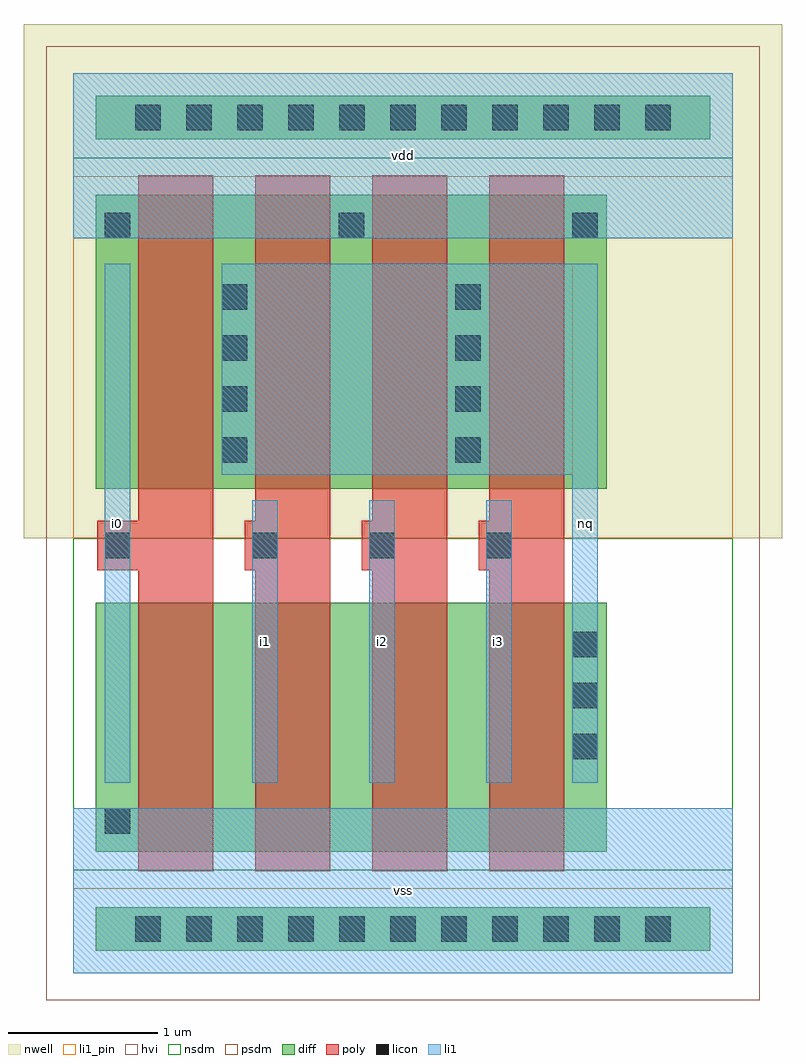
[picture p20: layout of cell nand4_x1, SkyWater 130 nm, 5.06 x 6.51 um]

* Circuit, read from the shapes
.subckt nand4_x1 i0 i1 i2 i3 nq vdd vss
XM1 n1 i0 vss VSUBS sky130_fd_pr__nfet_g5v0d10v5 w=1.66 l=0.5
XM2 n2 i1 n1 VSUBS sky130_fd_pr__nfet_g5v0d10v5 w=1.66 l=0.5
XM3 n3 i2 n2 VSUBS sky130_fd_pr__nfet_g5v0d10v5 w=1.66 l=0.5
XM4 nq i3 n3 VSUBS sky130_fd_pr__nfet_g5v0d10v5 w=1.66 l=0.5
XM5 nq i0 vdd n4 sky130_fd_pr__pfet_g5v0d10v5 w=1.96 l=0.5
XM6 vdd i1 nq n4 sky130_fd_pr__pfet_g5v0d10v5 w=1.96 l=0.5
XM7 nq i2 vdd n4 sky130_fd_pr__pfet_g5v0d10v5 w=1.96 l=0.5
XM8 vdd i3 nq n4 sky130_fd_pr__pfet_g5v0d10v5 w=1.96 l=0.5
.ends

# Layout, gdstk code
import gdstk
lib = gdstk.Library(unit=1e-6, precision=1e-09)
def R(c, l, rs):  # rectangles x0, y0, x1, y1
    for r in rs: c.add(gdstk.rectangle(r[:2], r[2:], *l))
def A(c, l, x, y, w, h, nx, ny, dx, dy):  # array of equal rectangles
    R(c, l, [(x+i*dx, y+j*dy, x+i*dx+w, y+j*dy+h) for i in range(nx) for j in range(ny)])
def P(c, l, *ps):  # polygons
    for p in ps: c.add(gdstk.Polygon(p, *l))
nwell = (64, 20)
diff = (65, 20)
poly = (66, 20)
licon = (66, 44)
li1_pin = (67, 16)
li1 = (67, 20)
hvi = (75, 20)
nsdm = (93, 44)
psdm = (94, 20)

nand4_x1 = lib.new_cell('nand4_x1')
R(nand4_x1, nwell, [(-0.33,2.9,4.73,6.33)])
R(nand4_x1, diff, [(0.15,0.15,4.25,0.44), (0.15,0.81,3.56,2.47), (0.15,3.23,3.56,5.19), (0.15,5.56,4.25,5.85)])
P(nand4_x1, poly, [(0.435,0.68),(0.435,2.685),(0.16,2.685),(0.16,3.015),(0.435,3.015),(0.435,5.32),(0.935,5.32),(0.935,0.68)],
  [(1.215,0.68),(1.215,2.685),(1.145,2.685),(1.145,3.015),(1.215,3.015),(1.215,5.32),(1.715,5.32),(1.715,0.68)],
  [(1.995,0.68),(1.995,2.685),(1.925,2.685),(1.925,3.015),(1.995,3.015),(1.995,5.32),(2.495,5.32),(2.495,0.68)],
  [(2.775,0.68),(2.775,2.685),(2.705,2.685),(2.705,3.015),(2.775,3.015),(2.775,5.32),(3.275,5.32),(3.275,0.68)])
A(nand4_x1, licon, 0.415, 0.21, 0.17, 0.17, 11, 2, 0.34, 5.41)
A(nand4_x1, licon, 3.33, 1.425, 0.17, 0.17, 1, 3, 0, 0.34)
A(nand4_x1, licon, 1.195, 2.765, 0.17, 0.17, 3, 1, 0.78, 0)
A(nand4_x1, licon, 0.99, 3.405, 0.17, 0.17, 1, 4, 0, 0.34)
A(nand4_x1, licon, 2.55, 3.405, 0.17, 0.17, 1, 4, 0, 0.34)
A(nand4_x1, licon, 0.21, 4.9, 0.17, 0.17, 3, 1, 1.56, 0)
R(nand4_x1, licon, [(0.21,0.93,0.38,1.1), (0.21,2.765,0.38,2.935)])
A(nand4_x1, li1_pin, 1.195, 1.27, 0.17, 1.885, 3, 1, 0.78, 0)
R(nand4_x1, li1_pin, [(0,0,4.4,1.1), (0.21,1.27,0.38,4.73), (3.33,1.27,3.5,4.73), (0,4.9,4.4,6)])
A(nand4_x1, li1, 1.195, 1.27, 0.17, 1.885, 3, 1, 0.78, 0)
R(nand4_x1, li1, [(0,0,4.4,1.1), (0.21,1.27,0.38,4.73), (0,4.9,4.4,6)])
P(nand4_x1, li1, [(3.33,1.27),(3.33,3.325),(0.99,3.325),(0.99,4.73),(3.5,4.73),(3.5,1.27)])
R(nand4_x1, hvi, [(-0.18,-0.18,4.58,6.18)])
R(nand4_x1, nsdm, [(0,0.685,4.4,2.9), (0,5.435,4.4,6)])
R(nand4_x1, psdm, [(0,0,4.4,0.565), (0,2.9,4.4,5.315)])
nand4_x1.add(gdstk.Label('vss', (2.2,0.55), layer=67, texttype=16))
nand4_x1.add(gdstk.Label('vdd', (2.2,5.45), layer=67, texttype=16))
nand4_x1.add(gdstk.Label('i0', (0.295,3), layer=67, texttype=16))
nand4_x1.add(gdstk.Label('nq', (3.415,3), layer=67, texttype=16))
nand4_x1.add(gdstk.Label('i1', (1.28,2.213), layer=67, texttype=16))
nand4_x1.add(gdstk.Label('i2', (2.06,2.213), layer=67, texttype=16))
nand4_x1.add(gdstk.Label('i3', (2.84,2.213), layer=67, texttype=16))

lib.write_gds('nand4_x1.gds')
